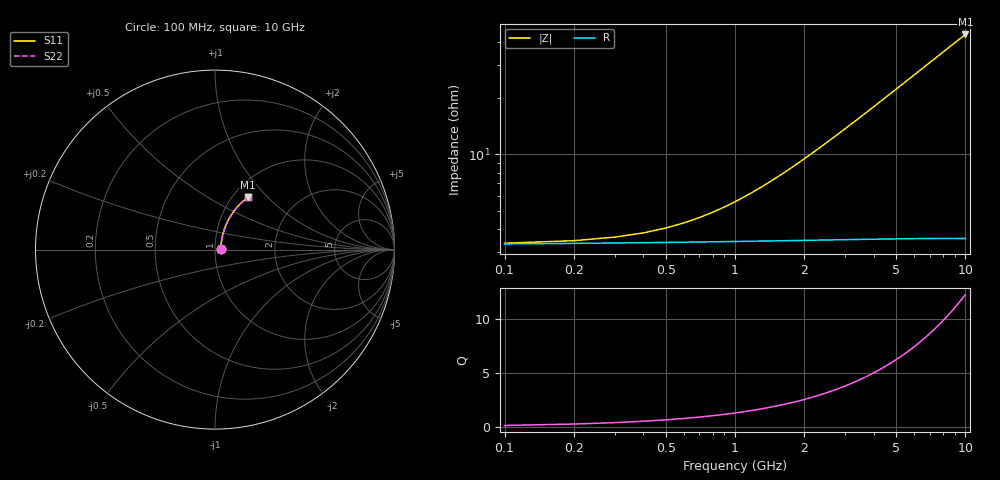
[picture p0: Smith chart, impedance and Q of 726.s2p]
# Hz S RI R 50.00
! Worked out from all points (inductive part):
!   100 points, 100 MHz to 10 GHz, reference 50 ohm
!   read as one part in series: L = 701 pH near 2.4 GHz
!   highest Q = 12.2 at 10 GHz (marker M1), where L = 692 pH
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1e8  0.0322 0.00354  0.9678 -0.00472  0.9678 -0.00472  0.0322 0.00354
2e8  0.0325 0.00708  0.9675 -0.00944  0.9675 -0.00944  0.0325 0.00708
3e8  0.0327 0.0106  0.9673 -0.0142  0.9673 -0.0142  0.0327 0.0106
4e8  0.033 0.0142  0.967 -0.0189  0.967 -0.0189  0.033 0.0142
5e8  0.0332 0.0177  0.9667 -0.0236  0.9667 -0.0236  0.0332 0.0177
1.3e9  0.0363 0.0458  0.9636 -0.0611  0.9636 -0.0611  0.0363 0.0458
1.5e9  0.0373 0.0528  0.9625 -0.0704  0.9625 -0.0704  0.0373 0.0528
1.8e9  0.0391 0.0632  0.9606 -0.0844  0.9606 -0.0844  0.0391 0.0632
2.1e9  0.0412 0.0735  0.9584 -0.0982  0.9584 -0.0982  0.0412 0.0735
2.5e9  0.0445 0.0871  0.955 -0.1166  0.955 -0.1166  0.0445 0.0871
2.9e9  0.0483 0.1006  0.9511 -0.1348  0.9511 -0.1348  0.0483 0.1006
3.4e9  0.0537 0.1172  0.9455 -0.1573  0.9455 -0.1573  0.0537 0.1172
3.8e9  0.0585 0.1302  0.9404 -0.175  0.9404 -0.175  0.0585 0.1302
4.2e9  0.0638 0.143  0.9349 -0.1925  0.9349 -0.1925  0.0638 0.143
4.6e9  0.0696 0.1555  0.9288 -0.2097  0.9288 -0.2097  0.0696 0.1555
5.1e9  0.0775 0.1707  0.9206 -0.2309  0.9206 -0.2309  0.0775 0.1707
5.9e9  0.0914 0.194  0.9061 -0.2637  0.9061 -0.2637  0.0914 0.194
6.7e9  0.1068 0.216  0.89 -0.2952  0.89 -0.2952  0.1068 0.216
7.5e9  0.1236 0.2365  0.8723 -0.3253  0.8723 -0.3253  0.1236 0.2365
8.4e9  0.1439 0.2577  0.851 -0.3573  0.851 -0.3573  0.1439 0.2577
9.2e9  0.163 0.2749  0.8308 -0.384  0.8308 -0.384  0.163 0.2749
1e10  0.183 0.2905  0.8098 -0.4092  0.8098 -0.4092  0.183 0.2905
